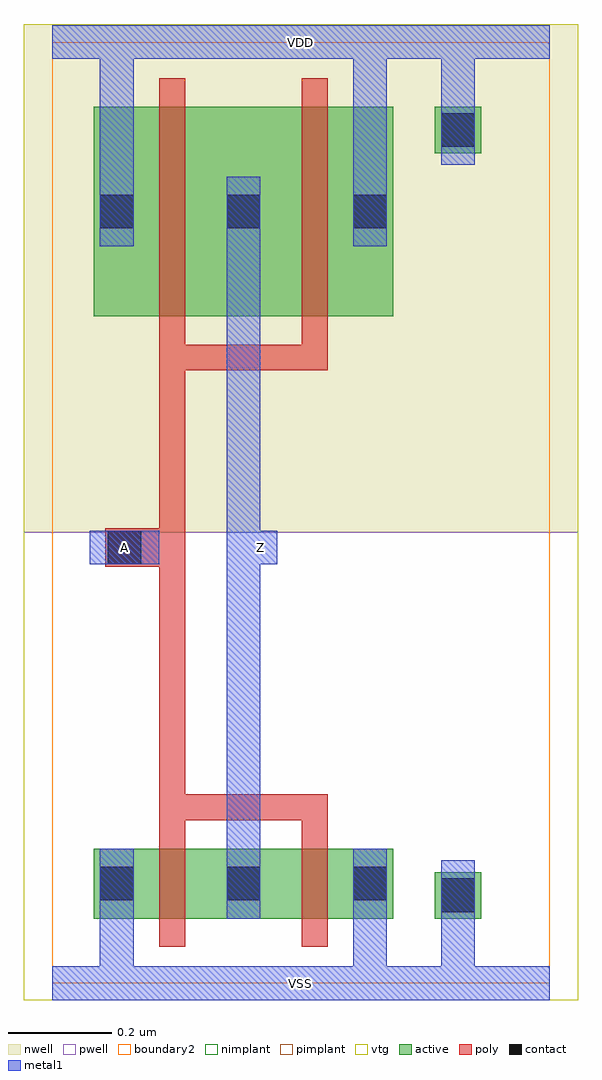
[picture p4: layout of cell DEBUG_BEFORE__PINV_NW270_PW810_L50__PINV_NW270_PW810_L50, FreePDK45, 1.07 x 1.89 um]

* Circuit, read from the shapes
.subckt DEBUG_BEFORE__PINV_NW270_PW810_L50__PINV_NW270_PW810_L50 A VDD VSS Z
M1 Z A VSS VSS nfet w=0.135u l=0.05u m=2
M2 Z A VDD VDD pfet w=0.405u l=0.05u m=2
.ends

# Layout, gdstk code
import gdstk
lib = gdstk.Library(unit=1e-6, precision=5e-10)
def R(c, l, rs):  # rectangles x0, y0, x1, y1
    for r in rs: c.add(gdstk.rectangle(r[:2], r[2:], *l))
def A(c, l, x, y, w, h, nx, ny, dx, dy):  # array of equal rectangles
    R(c, l, [(x+i*dx, y+j*dy, x+i*dx+w, y+j*dy+h) for i in range(nx) for j in range(ny)])
active = (1, 0)
pwell = (2, 0)
nwell = (3, 0)
nimplant = (4, 0)
pimplant = (5, 0)
vtg = (6, 0)
poly = (9, 0)
contact = (10, 0)
metal1 = (11, 0)
boundary2 = (239, 0)

debug_before__pinv_nw270 = lib.new_cell('DEBUG_BEFORE__PINV_NW270_PW810_L50__TRANSMISSION_GATE_NW250_PW500_L50_contact_8')
R(debug_before__pinv_nw270, active, [(0,0.0225,0.09,0.1125)])
R(debug_before__pinv_nw270, nwell, [(-0.055,-0.0325,0.145,0.1675)])
R(debug_before__pinv_nw270, pimplant, [(0,0.0225,0.09,0.1125)])
R(debug_before__pinv_nw270, contact, [(0.0125,0.035,0.0775,0.1)])
R(debug_before__pinv_nw270, metal1, [(0.0125,0,0.0775,0.135)])
R(debug_before__pinv_nw270, boundary2, [(-0.055,-0.0325,0.145,0.1675)])

c_debug_before__pinv_nw270 = lib.new_cell('DEBUG_BEFORE__PINV_NW270_PW810_L50__PINV_NW270_PW810_L50_pmos_m2_w0_405_sm1_dm1_da_p')
R(c_debug_before__pinv_nw270, active, [(0,0,0.58,0.405)])
R(c_debug_before__pinv_nw270, nwell, [(-0.08,-0.08,0.66,0.485)])
R(c_debug_before__pinv_nw270, pimplant, [(0,0,0.58,0.405)])
R(c_debug_before__pinv_nw270, vtg, [(-0.08,-0.08,0.66,0.485)])
R(c_debug_before__pinv_nw270, poly, [(0.1275,-0.105,0.4525,-0.055), (0.1275,-0.055,0.1775,0.46), (0.4025,-0.055,0.4525,0.46)])
A(c_debug_before__pinv_nw270, metal1, 0.0125, 0.135, 0.065, 0.135, 3, 1, 0.245, 0)
R(c_debug_before__pinv_nw270, boundary2, [(-0.08,-0.105,0.66,0.485)])
c_debug_before__pinv_nw270.add(gdstk.Reference(debug_before__pinv_nw270, (0,0.135)))
c_debug_before__pinv_nw270.add(gdstk.Reference(debug_before__pinv_nw270, (0.245,0.135)))
c_debug_before__pinv_nw270.add(gdstk.Reference(debug_before__pinv_nw270, (0.49,0.135)))
c_debug_before__pinv_nw270.add(gdstk.Label('G', (0.29,-0.08), layer=9, texttype=0))
c_debug_before__pinv_nw270.add(gdstk.Label('S', (0.535,0.2025), layer=11, texttype=0))
c_debug_before__pinv_nw270.add(gdstk.Label('S', (0.045,0.2025), layer=11, texttype=0))
c_debug_before__pinv_nw270.add(gdstk.Label('D', (0.29,0.2025), layer=11, texttype=0))

c_debug_before__pinv_nw270_ = lib.new_cell('DEBUG_BEFORE__PINV_NW270_PW810_L50__TRANSMISSION_GATE_NW250_PW500_L50_contact_7')
R(c_debug_before__pinv_nw270_, active, [(0,0.0225,0.09,0.1125)])
R(c_debug_before__pinv_nw270_, pwell, [(-0.055,-0.0325,0.145,0.1675)])
R(c_debug_before__pinv_nw270_, nimplant, [(0,0.0225,0.09,0.1125)])
R(c_debug_before__pinv_nw270_, contact, [(0.0125,0.035,0.0775,0.1)])
R(c_debug_before__pinv_nw270_, metal1, [(0.0125,0,0.0775,0.135)])
R(c_debug_before__pinv_nw270_, boundary2, [(-0.055,-0.0325,0.145,0.1675)])

c_debug_before__pinv_nw270__ = lib.new_cell('DEBUG_BEFORE__PINV_NW270_PW810_L50__PINV_NW270_PW810_L50_nmos_m2_w0_135_sm1_dm1_da_p')
R(c_debug_before__pinv_nw270__, active, [(0,0,0.58,0.135)])
R(c_debug_before__pinv_nw270__, pwell, [(-0.08,-0.08,0.66,0.215)])
R(c_debug_before__pinv_nw270__, nimplant, [(0,0,0.58,0.135)])
R(c_debug_before__pinv_nw270__, vtg, [(-0.08,-0.08,0.66,0.215)])
R(c_debug_before__pinv_nw270__, poly, [(0.1275,-0.055,0.1775,0.19), (0.4025,-0.055,0.4525,0.19), (0.1275,0.19,0.4525,0.24)])
A(c_debug_before__pinv_nw270__, metal1, 0.0125, 0, 0.065, 0.135, 3, 1, 0.245, 0)
R(c_debug_before__pinv_nw270__, boundary2, [(-0.08,-0.08,0.66,0.24)])
c_debug_before__pinv_nw270__.add(gdstk.Reference(c_debug_before__pinv_nw270_, (0,0)))
c_debug_before__pinv_nw270__.add(gdstk.Reference(c_debug_before__pinv_nw270_, (0.245,0)))
c_debug_before__pinv_nw270__.add(gdstk.Reference(c_debug_before__pinv_nw270_, (0.49,0)))
c_debug_before__pinv_nw270__.add(gdstk.Label('G', (0.29,0.215), layer=9, texttype=0))
c_debug_before__pinv_nw270__.add(gdstk.Label('S', (0.535,0.0675), layer=11, texttype=0))
c_debug_before__pinv_nw270__.add(gdstk.Label('S', (0.045,0.0675), layer=11, texttype=0))
c_debug_before__pinv_nw270__.add(gdstk.Label('D', (0.29,0.0675), layer=11, texttype=0))

c_debug_before__pinv_nw270___ = lib.new_cell('DEBUG_BEFORE__PINV_NW270_PW810_L50__TRANSMISSION_GATE_NW250_PW500_L50_contact_9')
R(c_debug_before__pinv_nw270___, active, [(0,0.0225,0.09,0.1125)])
R(c_debug_before__pinv_nw270___, nwell, [(-0.055,-0.0325,0.145,0.1675)])
R(c_debug_before__pinv_nw270___, nimplant, [(0,0.0225,0.09,0.1125)])
R(c_debug_before__pinv_nw270___, contact, [(0.0125,0.035,0.0775,0.1)])
R(c_debug_before__pinv_nw270___, metal1, [(0.0125,0,0.0775,0.135)])
R(c_debug_before__pinv_nw270___, boundary2, [(-0.055,-0.0325,0.145,0.1675)])

c_debug_before__pinv_nw270____ = lib.new_cell('DEBUG_BEFORE__PINV_NW270_PW810_L50__TRANSMISSION_GATE_NW250_PW500_L50_contact_10')
R(c_debug_before__pinv_nw270____, active, [(0,0.0225,0.09,0.1125)])
R(c_debug_before__pinv_nw270____, pwell, [(-0.055,-0.0325,0.145,0.1675)])
R(c_debug_before__pinv_nw270____, pimplant, [(0,0.0225,0.09,0.1125)])
R(c_debug_before__pinv_nw270____, contact, [(0.0125,0.035,0.0775,0.1)])
R(c_debug_before__pinv_nw270____, metal1, [(0.0125,0,0.0775,0.135)])
R(c_debug_before__pinv_nw270____, boundary2, [(-0.055,-0.0325,0.145,0.1675)])

c_debug_before__pinv_nw270_____ = lib.new_cell('DEBUG_BEFORE__PINV_NW270_PW810_L50__PINV_NW180_PW270_L50_contact_11')
R(c_debug_before__pinv_nw270_____, poly, [(0.03,0,0.105,0.075)])
R(c_debug_before__pinv_nw270_____, contact, [(0.035,0.005,0.1,0.07)])
R(c_debug_before__pinv_nw270_____, metal1, [(0,0.005,0.135,0.07)])
R(c_debug_before__pinv_nw270_____, boundary2, [(0,0,0.135,0.075)])

c_debug_before__pinv_nw270______ = lib.new_cell('DEBUG_BEFORE__PINV_NW270_PW810_L50__PINV_NW270_PW810_L50_core')
R(c_debug_before__pinv_nw270______, pwell, [(-0.055,-0.0325,1.0175,0.8725)])
R(c_debug_before__pinv_nw270______, nwell, [(-0.055,0.8725,1.0175,1.855)])
R(c_debug_before__pinv_nw270______, vtg, [(-0.055,-0.0325,1.0175,0.8725), (-0.055,0.8725,1.0175,1.855)])
R(c_debug_before__pinv_nw270______, poly, [(0.2075,0.365,0.2575,1.185), (0.14,0.805,0.2075,0.88)])
R(c_debug_before__pinv_nw270______, metal1, [(0,-0.0325,0.9625,0.0325), (0.0925,-0.0325,0.1575,0.125), (0.5825,-0.0325,0.6475,0.125), (0.7525,0,0.8175,0.17), (0.3375,0.125,0.4025,1.56), (0.0725,0.81,0.2075,0.875), (0.37,0.81,0.435,0.875), (0.0925,1.425,0.1575,1.8525), (0.5825,1.425,0.6475,1.8525), (0.7525,1.65,0.8175,1.82), (0,1.7875,0.9625,1.8525)])
R(c_debug_before__pinv_nw270______, boundary2, [(0,0,0.9625,1.82), (0,0,0.9625,1.82)])
c_debug_before__pinv_nw270______.add(gdstk.Reference(c_debug_before__pinv_nw270, (0.08,1.29)))
c_debug_before__pinv_nw270______.add(gdstk.Reference(c_debug_before__pinv_nw270__, (0.08,0.125)))
c_debug_before__pinv_nw270______.add(gdstk.Reference(c_debug_before__pinv_nw270___, (0.74,1.5825)))
c_debug_before__pinv_nw270______.add(gdstk.Reference(c_debug_before__pinv_nw270____, (0.74,0.1025)))
c_debug_before__pinv_nw270______.add(gdstk.Reference(c_debug_before__pinv_nw270_____, (0.0725,0.805)))
c_debug_before__pinv_nw270______.add(gdstk.Label('A', (0.14,0.8425), layer=11, texttype=0))
c_debug_before__pinv_nw270______.add(gdstk.Label('Z', (0.4025,0.8425), layer=11, texttype=0))
c_debug_before__pinv_nw270______.add(gdstk.Label('gnd', (0.481,0), layer=11, texttype=0))
c_debug_before__pinv_nw270______.add(gdstk.Label('vdd', (0.481,1.82), layer=11, texttype=0))

c_debug_before__pinv_nw270_______ = lib.new_cell('DEBUG_BEFORE__PINV_NW270_PW810_L50__PINV_NW270_PW810_L50')
R(c_debug_before__pinv_nw270_______, metal1, [(0,-0.0325,0.9625,0.0325), (0.0725,0.81,0.2075,0.875), (0.37,0.81,0.435,0.875), (0,1.7875,0.9625,1.8525)])
R(c_debug_before__pinv_nw270_______, boundary2, [(0,0,0.9625,1.82)])
c_debug_before__pinv_nw270_______.add(gdstk.Reference(c_debug_before__pinv_nw270______, (0,0)))
c_debug_before__pinv_nw270_______.add(gdstk.Label('A', (0.14,0.8425), layer=11, texttype=0))
c_debug_before__pinv_nw270_______.add(gdstk.Label('Z', (0.4025,0.8425), layer=11, texttype=0))
c_debug_before__pinv_nw270_______.add(gdstk.Label('VDD', (0.481,1.82), layer=11, texttype=0))
c_debug_before__pinv_nw270_______.add(gdstk.Label('VSS', (0.481,0), layer=11, texttype=0))

lib.write_gds('DEBUG_BEFORE__PINV_NW270_PW810_L50__PINV_NW270_PW810_L50.gds')
